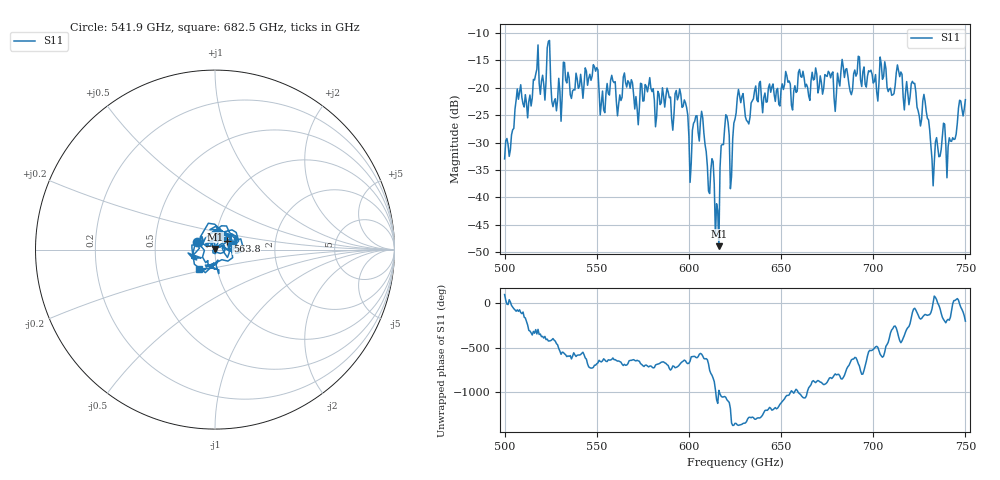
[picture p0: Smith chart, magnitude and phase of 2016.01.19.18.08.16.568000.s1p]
!Created with skrf (http://scikit-rf.org).
# GHz S RI R 50.0
!freq ReS11 ImS11
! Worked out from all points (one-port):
!   401 points, 500 GHz to 750 GHz, reference 50 ohm
!   lowest |S11| = -48.9 dB at 616.2 GHz (marker M1), VSWR 1.01, Z = 49.9 + j0.354 ohm
!   |S11| at or under -10 dB: start of sweep to end of sweep
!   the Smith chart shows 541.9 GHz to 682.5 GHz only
!   S11 on the Smith chart (normalised r, x): 541.9 GHz: 0.82, +0.07; 563.8 GHz: 1.14, +0.11; 682.5 GHz: 0.82, -0.18
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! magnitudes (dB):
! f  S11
! 500 GHz  -33.0
! 516.9 GHz  -17.6
! 520.6 GHz  -17.7
! 523.8 GHz  -11.6
! 526.9 GHz  -22.5
! 531.2 GHz  -21.5
! 541.9 GHz  -19.4
! 549.4 GHz  -17.0
! 553.1 GHz  -20.6
! 558.8 GHz  -18.8
! 562.5 GHz  -21.3
! 563.8 GHz  -21.7
! 593.8 GHz  -22.2
! 601.2 GHz  -33.8
! 607.5 GHz  -25.5
! 615 GHz  -41.1
! 616.2 GHz  -48.9
! 619.4 GHz  -27.4
! 623.1 GHz  -36.2
! 625 GHz  -25.7
! 656.2 GHz  -24.1
! 682.5 GHz  -17.0
! 687.5 GHz  -20.7
! 705 GHz  -18.5
! 718.8 GHz  -21.0
! 728.1 GHz  -22.5
! 732.5 GHz  -37.9
! 750 GHz  -22.2
